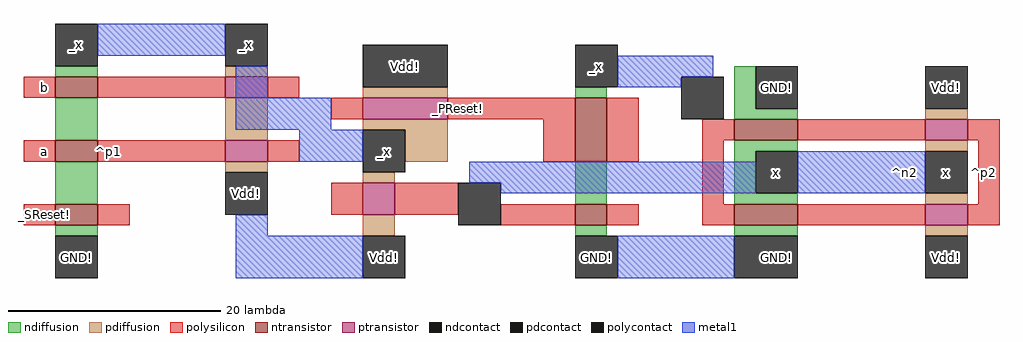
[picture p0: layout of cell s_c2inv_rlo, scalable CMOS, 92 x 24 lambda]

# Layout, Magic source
magic
tech scmos
<< ntransistor >>
rect -9 39 -5 41
rect -9 33 -5 35
rect -9 27 -5 29
rect 40 33 43 39
rect 55 35 61 37
rect 40 27 43 29
rect 55 27 61 29
<< ptransistor >>
rect 7 39 11 41
rect 20 37 28 39
rect 7 33 11 35
rect 73 35 77 37
rect 20 28 23 31
rect 73 27 77 29
<< ndiffusion >>
rect -9 41 -5 42
rect 40 39 43 40
rect -9 35 -5 39
rect -9 29 -5 33
rect 55 38 57 42
rect 55 37 61 38
rect -9 26 -5 27
rect 40 29 43 33
rect 55 34 61 35
rect 55 30 57 34
rect 55 29 61 30
rect 40 26 43 27
rect 55 26 61 27
<< pdiffusion >>
rect 7 41 11 42
rect 20 39 28 40
rect 7 35 11 39
rect 20 36 28 37
rect 7 32 11 33
rect 24 33 28 36
rect 73 37 77 38
rect 20 31 23 32
rect 20 26 23 28
rect 73 34 77 35
rect 73 29 77 30
rect 73 26 77 27
<< ndcontact >>
rect -9 42 -5 46
rect 40 40 44 44
rect 57 38 61 42
rect -9 22 -5 26
rect 57 30 61 34
rect 40 22 44 26
rect 55 22 61 26
<< pdcontact >>
rect 7 42 11 46
rect 20 40 28 44
rect 7 28 11 32
rect 20 32 24 36
rect 73 38 77 42
rect 73 30 77 34
rect 20 22 24 26
rect 73 22 77 26
<< polysilicon >>
rect -12 39 -9 41
rect -5 39 7 41
rect 11 39 14 41
rect 17 37 20 39
rect 28 37 40 39
rect -12 33 -9 35
rect -5 33 7 35
rect 11 33 14 35
rect -12 27 -9 29
rect -5 27 -2 29
rect 37 33 40 37
rect 43 33 46 39
rect 52 35 55 37
rect 61 35 73 37
rect 77 35 80 37
rect 17 28 20 31
rect 23 28 29 31
rect 52 29 54 35
rect 78 29 80 35
rect 33 27 40 29
rect 43 27 46 29
rect 52 27 55 29
rect 61 27 73 29
rect 77 27 80 29
<< polycontact >>
rect 50 37 54 41
rect 29 27 33 31
<< metal1 >>
rect -5 43 7 46
rect 8 39 11 42
rect 44 41 53 43
rect 44 40 50 41
rect 8 36 17 39
rect 14 33 20 36
rect 30 31 57 33
rect 8 26 11 28
rect 33 30 57 31
rect 61 30 73 34
rect 8 22 20 26
rect 44 22 55 26
<< labels >>
rlabel ndcontact 59 24 59 24 1 GND!
rlabel ndcontact 59 40 59 40 5 GND!
rlabel pdcontact 75 32 75 32 1 x
rlabel ndcontact 59 32 59 32 1 x
rlabel pdcontact 75 40 75 40 5 Vdd!
rlabel pdcontact 75 24 75 24 1 Vdd!
rlabel space 76 21 81 43 3 ^p2
rlabel space 60 20 82 44 3 ^n2
rlabel ndcontact 42 24 42 24 1 GND!
rlabel ndcontact 42 42 42 42 5 _x
rlabel pdcontact 24 42 24 42 1 Vdd!
rlabel polysilicon 29 38 29 38 5 _PReset!
rlabel pdcontact 22 34 22 34 5 _x
rlabel pdcontact 22 24 22 24 1 Vdd!
rlabel pdcontact 9 30 9 30 1 Vdd!
rlabel pdcontact 9 44 9 44 1 _x
rlabel polysilicon -10 34 -10 34 3 a
rlabel polysilicon -10 40 -10 40 3 b
rlabel ndcontact -7 44 -7 44 1 _x
rlabel ndcontact -7 24 -7 24 1 GND!
rlabel polysilicon -10 28 -10 28 3 _SReset!
rlabel space -13 22 -9 46 7 ^n1
rlabel space -15 21 7 47 7 ^p1
<< end >>
